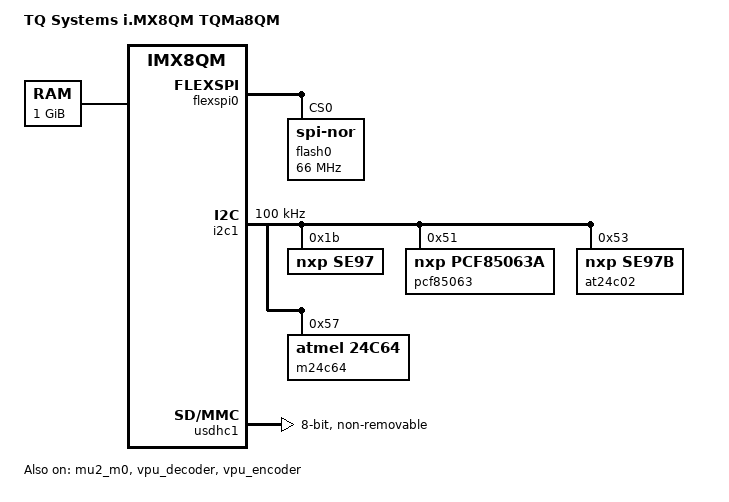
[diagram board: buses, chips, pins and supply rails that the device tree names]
// SPDX-License-Identifier: (GPL-2.0-or-later OR MIT)
/*
 * Copyright 2019-2021 TQ-Systems GmbH
 */

/ {
	model = "TQ Systems i.MX8QM TQMa8QM";
	compatible = "tq,imx8qm-tqma8qm", "fsl,imx8qm";

	memory@80000000 {
		device_type = "memory";
		/*
		 * DRAM base addr, size : 1024 MiB DRAM
		 * should be corrected by bootloader
		 */
		reg = <0x00000000 0x80000000 0 0x40000000>;
	};

	reserved-memory {
		/*
		 * global autoconfigured region for contiguous allocations
		 * must not exceed memory size and region
		 */
		linux,cma {
			compatible = "shared-dma-pool";
			reusable;
			size = <0 0x20000000>;
			alloc-ranges = <0 0x96000000 0 0x30000000>;
			linux,cma-default;
		};

		decoder_boot: decoder_boot@0x84000000 {
			no-map;
			reg = <0 0x84000000 0 0x2000000>;
		};

		encoder_boot: encoder_boot@0x86000000 {
			no-map;
			reg = <0 0x86000000 0 0x400000>;
		};

		decoder_rpc: decoder_rpc@0x92000000 {
			no-map;
			reg = <0 0x92000000 0 0x200000>;
		};

		encoder_rpc: encoder_rpc@0x92200000 {
			no-map;
			reg = <0 0x92200000 0 0x200000>;
		};

		encoder_reserved: encoder_reserved@0x94400000 {
			no-map;
			reg = <0 0x94400000 0 0x800000>;
		};
	};
};

&iomuxc {
	pinctrl_lpi2c1: lpi2c1grp {
		fsl,pins = <
			IMX8QM_GPT0_CAPTURE_DMA_I2C1_SDA	0x0600004d
			IMX8QM_GPT0_CLK_DMA_I2C1_SCL		0x0600004d
		>;
	};

	pinctrl_usdhc1: usdhc1grp {
		fsl,pins = <
			IMX8QM_EMMC0_CLK_CONN_EMMC0_CLK		0x06000041
			IMX8QM_EMMC0_CMD_CONN_EMMC0_CMD		0x00000021
			IMX8QM_EMMC0_DATA0_CONN_EMMC0_DATA0	0x00000021
			IMX8QM_EMMC0_DATA1_CONN_EMMC0_DATA1	0x00000021
			IMX8QM_EMMC0_DATA2_CONN_EMMC0_DATA2	0x00000021
			IMX8QM_EMMC0_DATA3_CONN_EMMC0_DATA3	0x00000021
			IMX8QM_EMMC0_DATA4_CONN_EMMC0_DATA4	0x00000021
			IMX8QM_EMMC0_DATA5_CONN_EMMC0_DATA5	0x00000021
			IMX8QM_EMMC0_DATA6_CONN_EMMC0_DATA6	0x00000021
			IMX8QM_EMMC0_DATA7_CONN_EMMC0_DATA7	0x00000021
			IMX8QM_EMMC0_STROBE_CONN_EMMC0_STROBE	0x00000041
			IMX8QM_EMMC0_RESET_B_CONN_EMMC0_RESET_B	0x00000021
		>;
	};

	pinctrl_usdhc1_100mhz: usdhc1grp100mhz {
		fsl,pins = <
			IMX8QM_EMMC0_CLK_CONN_EMMC0_CLK		0x06000040
			IMX8QM_EMMC0_CMD_CONN_EMMC0_CMD		0x00000021
			IMX8QM_EMMC0_DATA0_CONN_EMMC0_DATA0	0x00000021
			IMX8QM_EMMC0_DATA1_CONN_EMMC0_DATA1	0x00000021
			IMX8QM_EMMC0_DATA2_CONN_EMMC0_DATA2	0x00000021
			IMX8QM_EMMC0_DATA3_CONN_EMMC0_DATA3	0x00000021
			IMX8QM_EMMC0_DATA4_CONN_EMMC0_DATA4	0x00000021
			IMX8QM_EMMC0_DATA5_CONN_EMMC0_DATA5	0x00000021
			IMX8QM_EMMC0_DATA6_CONN_EMMC0_DATA6	0x00000021
			IMX8QM_EMMC0_DATA7_CONN_EMMC0_DATA7	0x00000021
			IMX8QM_EMMC0_STROBE_CONN_EMMC0_STROBE	0x00000041
			IMX8QM_EMMC0_RESET_B_CONN_EMMC0_RESET_B	0x00000021
		>;
	};

	pinctrl_usdhc1_200mhz: usdhc1grp200mhz {
		fsl,pins = <
			IMX8QM_EMMC0_CLK_CONN_EMMC0_CLK		0x06000040
			IMX8QM_EMMC0_CMD_CONN_EMMC0_CMD		0x00000021
			IMX8QM_EMMC0_DATA0_CONN_EMMC0_DATA0	0x00000021
			IMX8QM_EMMC0_DATA1_CONN_EMMC0_DATA1	0x00000021
			IMX8QM_EMMC0_DATA2_CONN_EMMC0_DATA2	0x00000021
			IMX8QM_EMMC0_DATA3_CONN_EMMC0_DATA3	0x00000021
			IMX8QM_EMMC0_DATA4_CONN_EMMC0_DATA4	0x00000021
			IMX8QM_EMMC0_DATA5_CONN_EMMC0_DATA5	0x00000021
			IMX8QM_EMMC0_DATA6_CONN_EMMC0_DATA6	0x00000021
			IMX8QM_EMMC0_DATA7_CONN_EMMC0_DATA7	0x00000021
			IMX8QM_EMMC0_STROBE_CONN_EMMC0_STROBE	0x00000041
			IMX8QM_EMMC0_RESET_B_CONN_EMMC0_RESET_B	0x00000021
		>;
	};

	pinctrl_flexspi0: flexspi0grp {
		fsl,pins = <
			IMX8QM_QSPI0A_DATA0_LSIO_QSPI0A_DATA0	0x0000004d
			IMX8QM_QSPI0A_DATA1_LSIO_QSPI0A_DATA1	0x0000004d
			IMX8QM_QSPI0A_DATA2_LSIO_QSPI0A_DATA2	0x0000004d
			IMX8QM_QSPI0A_DATA3_LSIO_QSPI0A_DATA3	0x0000004d
			IMX8QM_QSPI0A_DQS_LSIO_QSPI0A_DQS	0x0000004d
			IMX8QM_QSPI0A_SS0_B_LSIO_QSPI0A_SS0_B	0x0000004d
			IMX8QM_QSPI0A_SS1_B_LSIO_QSPI0A_SS1_B	0x0000004d
			IMX8QM_QSPI0A_SCLK_LSIO_QSPI0A_SCLK	0x0000004d
			IMX8QM_QSPI0B_SCLK_LSIO_QSPI0B_SCLK	0x0000004d
			IMX8QM_QSPI0B_DATA0_LSIO_QSPI0B_DATA0	0x0000004d
			IMX8QM_QSPI0B_DATA1_LSIO_QSPI0B_DATA1	0x0000004d
			IMX8QM_QSPI0B_DATA2_LSIO_QSPI0B_DATA2	0x0000004d
			IMX8QM_QSPI0B_DATA3_LSIO_QSPI0B_DATA3	0x0000004d
			IMX8QM_QSPI0B_DQS_LSIO_QSPI0B_DQS	0x0000004d
			IMX8QM_QSPI0B_SS0_B_LSIO_QSPI0B_SS0_B	0x0000004d
			IMX8QM_QSPI0B_SS1_B_LSIO_QSPI0B_SS1_B	0x0000004d
		>;
	};
};

&flexspi0 {
	pinctrl-names = "default";
	pinctrl-0 = <&pinctrl_flexspi0>;
	status = "okay";
	fsl,qspi-skip-dll-config;

	flash0: flash@0 {
		reg = <0>;
		#address-cells = <1>;
		#size-cells = <1>;
		compatible = "jedec,spi-nor";
/* TODO: try increase. n.b: MEK doesn't have spi-nor,ddr-quad-read-dummy */
/*		spi-max-frequency = <133000000>; */
		spi-max-frequency = <66000000>;
		spi-nor,ddr-quad-read-dummy = <8>;
		spi-tx-bus-width = <4>;
		spi-rx-bus-width = <4>;
	};
};

&i2c1 {
	#address-cells = <1>;
	#size-cells = <0>;
	clock-frequency = <100000>;
	pinctrl-names = "default";
	pinctrl-0 = <&pinctrl_lpi2c1>;
	status = "okay";

	/* NXP SE97BTP with temperature sensor + eeprom */
	se97: temperature-sensor-eeprom@1b {
		compatible = "nxp,se97", "jedec,jc-42.4-temp";
		reg = <0x1b>;
	};

	pcf85063: rtc@51 {
		compatible = "nxp,pcf85063a";
		reg = <0x51>;
		quartz-load-femtofarads = <7000>;
	};

	at24c02: eeprom@53 {
		compatible = "nxp,se97b", "atmel,24c02";
		reg = <0x53>;
		pagesize = <16>;
	};

	m24c64: eeprom@57 {
		compatible = "atmel,24c64";
		reg = <0x57>;
		pagesize = <32>;
	};
};

&lsio_gpio5 {
	status = "okay";
};

&usdhc1 {
	pinctrl-names = "default", "state_100mhz", "state_200mhz";
	pinctrl-0 = <&pinctrl_usdhc1>;
	pinctrl-1 = <&pinctrl_usdhc1_100mhz>;
	pinctrl-2 = <&pinctrl_usdhc1_200mhz>;
	bus-width = <8>;
	no-sd;
	no-sdio;
	non-removable;
	status = "okay";
};

&mu_m0{
	interrupts = <GIC_SPI 472 IRQ_TYPE_LEVEL_HIGH>;
};

&mu1_m0{
	interrupts = <GIC_SPI 473 IRQ_TYPE_LEVEL_HIGH>;
};

&mu2_m0{
	interrupts = <GIC_SPI 474 IRQ_TYPE_LEVEL_HIGH>;
	status = "okay";
};

&vpu_decoder {
	compatible = "nxp,imx8qm-b0-vpudec";
	boot-region = <&decoder_boot>;
	rpc-region = <&decoder_rpc>;
	reg-csr = <0x2d080000>;
	core_type = <2>;
	status = "okay";
};

&vpu_encoder {
	compatible = "nxp,imx8qm-b0-vpuenc";
	boot-region = <&encoder_boot>;
	rpc-region = <&encoder_rpc>;
	reserved-region = <&encoder_reserved>;
	reg-rpc-system = <0x40000000>;
	resolution-max = <1920 1080>;
	power-domains = <&pd IMX_SC_R_VPU_ENC_0>, <&pd IMX_SC_R_VPU_ENC_1>,
			<&pd IMX_SC_R_VPU>;
	power-domain-names = "vpuenc1", "vpuenc2", "vpu";
	mbox-names = "enc1_tx0", "enc1_tx1", "enc1_rx",
		     "enc2_tx0", "enc2_tx1", "enc2_rx";
	mboxes = <&mu1_m0 0 0
		  &mu1_m0 0 1
		  &mu1_m0 1 0
		  &mu2_m0 0 0
		  &mu2_m0 0 1
		  &mu2_m0 1 0>;
	status = "okay";

	core0@1020000 {
		compatible = "fsl,imx8-mu1-vpu-m0";
		reg = <0x1020000 0x20000>;
		reg-csr = <0x1090000 0x10000>;
		interrupts = <GIC_SPI 473 IRQ_TYPE_LEVEL_HIGH>;
		fsl,vpu_ap_mu_id = <17>;
		fw-buf-size = <0x200000>;
		rpc-buf-size = <0x80000>;
		print-buf-size = <0x80000>;
	};

	core1@1040000 {
		compatible = "fsl,imx8-mu2-vpu-m0";
		reg = <0x1040000 0x20000>;
		reg-csr = <0x10A0000 0x10000>;
		interrupts = <GIC_SPI 474 IRQ_TYPE_LEVEL_HIGH>;
		fsl,vpu_ap_mu_id = <18>;
		fw-buf-size = <0x200000>;
		rpc-buf-size = <0x80000>;
		print-buf-size = <0x80000>;
	};
};
